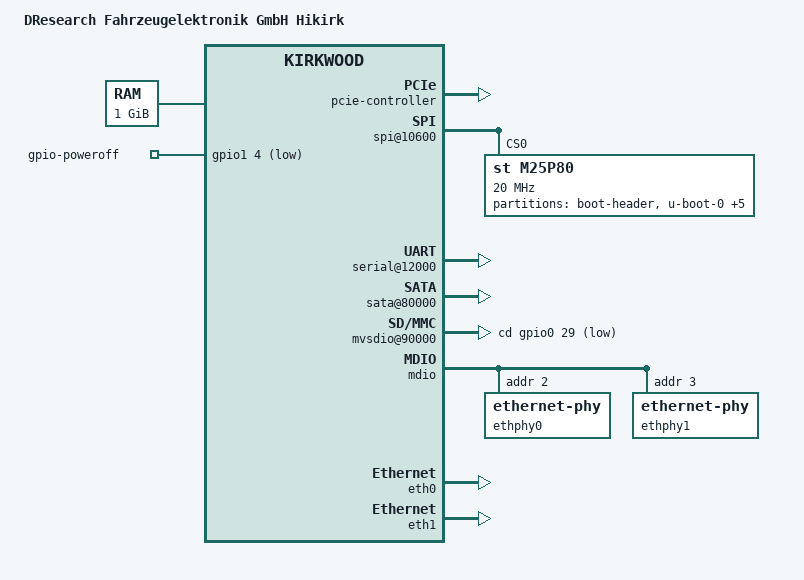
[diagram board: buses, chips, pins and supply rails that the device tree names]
/*
 * Marvell Hikirk Board Description
 *
 *
 * This file is licensed under the terms of the GNU General Public
 * License version 2.  This program is licensed "as is" without any
 * warranty of any kind, whether express or implied.
 *
 */

/dts-v1/;

#include "kirkwood.dtsi"
#include "kirkwood-6282.dtsi"

/ {
	model = "DResearch Fahrzeugelektronik GmbH Hikirk";
	compatible = "dfe,hikirk", "marvell,kirkwood-88f6282", "marvell,kirkwood";

	memory {
		device_type = "memory";
		reg = <0x00000000 0x40000000>;
	};

	aliases {
		ethernet0 = &ethernet0port0;
		ethernet1 = &ethernet1port0;
	};

	chosen {
		bootargs = "console=ttyS0,115200n8";
		stdout-path = &uart0;
	};

	mbus {
		pcie-controller {
			status = "okay";

			pcie@1,0 {
				status = "okay";
			};
		};
	};

	ocp@f1000000 {
		pinctrl: pin-controller@10000 {
			pinctrl-0 = <&pmx_host_runing &pmx_sdio_cd &pmx_hdd_usable &pmx_mpp38>;
			pinctrl-names = "default";

			pmx_uart0: pmx-uart0 {
				marvell,pins = "mpp4", "mpp5";
				marvell,function = "uart0";
			};
			pmx_sdio_cd: pmx-sdio-cd {
				marvell,pins = "mpp29";
				marvell,function = "gpio";
			};
			pmx_host_runing: pmx-host-running {
				marvell,pins = "mpp36";
				marvell,function = "gpio";
			};
			pmx_hdd_usable: pmx-hdd-usable {
				marvell,pins = "mpp37";
				marvell,function = "gpio";
			};
			pmx_mpp38: pmx-mpp38 {
				marvell,pins = "mpp38";
				marvell,function = "gpo";
			};
		};
		spi@10600 {
			status = "okay";

			m25p80@0 {
				#address-cells = <1>;
				#size-cells = <1>;
				compatible = "st,m25p80";
				spi-max-frequency = <20000000>;
				reg = <0>;
				mode = <0>;

				partition@0 {
					reg = <0x0 0x10000>;
					label = "boot-header";
				};
				partition@10000 {
					reg = <0x10000 0xe0000>;
					label = "u-boot-0";
				};
				partition@f0000 {
					reg = <0xf0000 0xe0000>;
					label = "u-boot-1";
				};
				partition@1d0000 {
					reg = <0x1d0000 0x20000>;
					label = "u-boot-env";
				};
				partition@1f0000 {
					reg = <0x1f0000 0x10000>;
					label = "spare";
				};
				partition@200000 {
					reg = <0x200000 0x700000>;
					label = "kernel-0";
				};
				partition@900000 {
					reg = <0x900000 0x700000>;
					label = "kernel-1";
				};
			};
		};
		serial@12000 {
			status = "okay";

		};
		sata@80000 {
			status = "okay";
			nr-ports = <2>;
		};
		mvsdio@90000 {
			status = "okay";
			cd-gpios = <&gpio0 29 9>;
		};
	};
	gpio-poweroff {
		compatible = "gpio-poweroff";
		gpios = <&gpio1 4 GPIO_ACTIVE_LOW>;
	};

};

&mdio {
	status = "okay";

	ethphy0: ethernet-phy@2 {
		reg = <2>;
	};
	ethphy1: ethernet-phy@3 {
		reg = <3>;
	};
};

&eth0 {
	status = "okay";
	ethernet0port0: ethernet0-port@0 {
		phy-handle = <&ethphy0>;
	};
};

&eth1 {
	status = "okay";
	ethernet1port0: ethernet1-port@0 {
		phy-handle = <&ethphy1>;
	};
};

